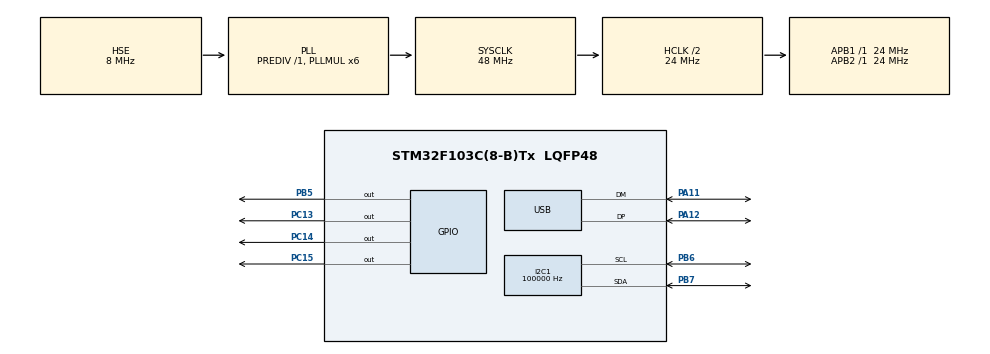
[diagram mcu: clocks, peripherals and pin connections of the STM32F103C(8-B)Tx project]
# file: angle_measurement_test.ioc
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I2C1.AddressingMode=I2C_ADDRESSINGMODE_7BIT
I2C1.ClockSpeed=100000
I2C1.DualAddressMode=I2C_DUALADDRESS_DISABLE
I2C1.GeneralCallMode=I2C_GENERALCALL_DISABLE
I2C1.I2C_Mode=I2C_Standard
I2C1.NoStretchMode=I2C_NOSTRETCH_DISABLE
I2C1.OwnAddress=0
Mcu.Family=STM32F1
Mcu.Name=STM32F103C(8-B)Tx
Mcu.Package=LQFP48
NVIC.PriorityGroup=NVIC_PRIORITYGROUP_4
NVIC.USB_LP_CAN1_RX0_IRQn=true\:0\:0\:false\:false\:true\:true\:true\:true
PA11.Mode=Device
PA11.Signal=USB_DM
PA12.Mode=Device
PA12.Signal=USB_DP
PA13.Mode=Serial_Wire
PA13.Signal=SYS_JTMS-SWDIO
PA14.Mode=Serial_Wire
PA14.Signal=SYS_JTCK-SWCLK
PB5.Signal=GPIO_Output
PB6.Mode=I2C
PB6.Signal=I2C1_SCL
PB7.Mode=I2C
PB7.Signal=I2C1_SDA
PC13-TAMPER-RTC.Signal=GPIO_Output
PC14-OSC32_IN.Signal=GPIO_Output
PC15-OSC32_OUT.Signal=GPIO_Output
PD0-OSC_IN.Mode=HSE-External-Oscillator
PD0-OSC_IN.Signal=RCC_OSC_IN
PD1-OSC_OUT.Mode=HSE-External-Oscillator
PD1-OSC_OUT.Signal=RCC_OSC_OUT
ProjectManager.HeapSize=0x200
ProjectManager.StackSize=0x400
ProjectManager.TargetToolchain=CMake
RCC.AHBCLKDivider=RCC_SYSCLK_DIV2
RCC.AHBFreq_Value=24000000
RCC.APB1Freq_Value=24000000
RCC.APB1TimFreq_Value=24000000
RCC.APB2Freq_Value=24000000
RCC.APB2TimFreq_Value=24000000
RCC.FLatency=FLASH_LATENCY_1
RCC.HCLKFreq_Value=24000000
RCC.PLLMUL=RCC_PLL_MUL6
RCC.SYSCLKFreq_VALUE=48000000
RCC.SYSCLKSource=RCC_SYSCLKSOURCE_PLLCLK
RCC.USBFreq_Value=48000000
USB.DeviceSpeed=PCD_SPEED_FULL
USB.battery_charging_enable=DISABLE
USB.low_power_enable=DISABLE
USB.lpm_enable=DISABLE
USB_DEVICE.APP_RX_DATA_SIZE=1024
USB_DEVICE.APP_TX_DATA_SIZE=1024
USB_DEVICE.CLASS_NAME_FS=CDC
USB_DEVICE.CONFIGURATION_STRING_CDC_FS=CDC Config
USB_DEVICE.INTERFACE_STRING_CDC_FS=CDC Interface
USB_DEVICE.LANGID_STRING=1033
USB_DEVICE.MANUFACTURER_STRING=STMicroelectronics
USB_DEVICE.PID_CDC_FS=22336
USB_DEVICE.PRODUCT_STRING_CDC_FS=STM32 Virtual ComPort
USB_DEVICE.USBD_DEBUG_LEVEL=0
USB_DEVICE.USBD_MAX_NUM_CONFIGURATION=1
USB_DEVICE.USBD_MAX_NUM_INTERFACES=1
USB_DEVICE.USBD_MAX_STR_DESC_SIZ=512
USB_DEVICE.USBD_SELF_POWERED=1
USB_DEVICE.VID=1155
USB_DEVICE.VirtualMode=Cdc
USB_DEVICE.VirtualModeFS=Cdc_FS
VP_USB_DEVICE_VS_USB_DEVICE_CDC_FS.Mode=CDC_FS
board=custom

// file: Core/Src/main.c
/* USER CODE BEGIN Header */
/**
  ******************************************************************************
  * @file           : main.c
  * @brief          : Main program body
  ******************************************************************************
  * @attention
  *
  * Copyright (c) 2026 STMicroelectronics.
  * All rights reserved.
  *
  * This software is licensed under terms that can be found in the LICENSE file
  * in the root directory of this software component.
  * If no LICENSE file comes with this software, it is provided AS-IS.
  *
  ******************************************************************************
  */
/* USER CODE END Header */
#include "main.h"
#include "usb_device.h"

/* USER CODE BEGIN Includes */
#include <stdio.h>
#include <stdint.h>
#include "as5600.h"
#include "usbd_cdc_if.h"
/* USER CODE END Includes */

/* USER CODE BEGIN PD */
#define N_STEP 200
#define N_MICROSTEP 4
#define N_LAP 8
/* USER CODE END PD */

/* USER CODE BEGIN PM */
#define USB_BUFLEN 128
/* USER CODE END PM */

I2C_HandleTypeDef hi2c1;

/* USER CODE BEGIN PV */
uint8_t usb_tx_buf[USB_BUFLEN];
uint16_t usb_tx_len;

AS5600_TypeDef *myAS5600;
/* USER CODE END PV */

void SystemClock_Config(void);
static void MX_GPIO_Init(void);
static void MX_I2C1_Init(void);

int main(void)
{

  /* MCU Configuration--------------------------------------------------------*/

  /* Reset of all peripherals, Initializes the Flash interface and the Systick. */
  HAL_Init();

  /* Configure the system clock */
  SystemClock_Config();

  /* Initialize all configured peripherals */
  MX_GPIO_Init();
  MX_I2C1_Init();
  MX_USB_DEVICE_Init();
  /* USER CODE BEGIN 2 */
  myAS5600 = AS5600_New();
  myAS5600->i2cAddr = (0x36 << 1); // 7-bit address shifted for HAL
  myAS5600->i2cHandle = &hi2c1;
  myAS5600->DirPort = GPIOB;       // unused
  myAS5600->DirPin = GPIO_PIN_5;   // unused
  myAS5600->PositiveRotationDirection = 0;

  // initialise AS5600
  HAL_StatusTypeDef a_ret;
  if ((a_ret = AS5600_Init(myAS5600)) != HAL_OK) {
    while(1) {
      usb_tx_len = snprintf((char*)usb_tx_buf, USB_BUFLEN, "INIT FAIL %d\r\n", a_ret);
      CDC_Transmit_FS(usb_tx_buf, usb_tx_len);
      HAL_Delay(1000);
    }
  }

  // home stepper motor
  uint16_t angle_12bit;
  AS5600_GetAngle(myAS5600, &angle_12bit);
  AS5600_SetStartPosition(myAS5600, angle_12bit);
  // do {
  //   HAL_GPIO_WritePin(GPIOC, GPIO_PIN_14, 1);    // advance stepper motor by 1 step
  //   HAL_Delay(10);
  //   HAL_GPIO_WritePin(GPIOC, GPIO_PIN_14, 0);
  //   HAL_Delay(10);

  //   if(AS5600_GetAngle(myAS5600, &angle_12bit) != HAL_OK) {
  //     while(1) {
  //       HAL_GPIO_WritePin(GPIOC, GPIO_PIN_13, 1);
  //       usb_tx_len = snprintf((char*)usb_tx_buf, USB_BUFLEN, "GET ANGLE ERROR\r\n");
  //       CDC_Transmit_FS(usb_tx_buf, usb_tx_len);
  //       HAL_Delay(1000);
  //     }
  //   } else {
  //     usb_tx_len = snprintf((char*)usb_tx_buf, USB_BUFLEN, "C%u\r\n", angle_12bit);
  //     CDC_Transmit_FS(usb_tx_buf, usb_tx_len);
  //   }
  // } while(angle_12bit != 0);

  // measure 1 full rotation
  HAL_Delay(5000);
  for(int step = 0; step < N_STEP * N_MICROSTEP * N_LAP; step++) {
    HAL_GPIO_WritePin(GPIOC, GPIO_PIN_14, 1);    // advance stepper motor by 1 step
    HAL_Delay(1);
    HAL_GPIO_WritePin(GPIOC, GPIO_PIN_14, 0);
    HAL_Delay(25);

    if(AS5600_GetAngle(myAS5600, &angle_12bit) != HAL_OK) {
      while(1) {
        usb_tx_len = snprintf((char*)usb_tx_buf, USB_BUFLEN, "GET ANGLE ERROR\r\n");
        CDC_Transmit_FS(usb_tx_buf, usb_tx_len);
        HAL_Delay(1000);
      }
    } else {
      usb_tx_len = snprintf((char*)usb_tx_buf, USB_BUFLEN, "%d, %u\r\n", step + 1, angle_12bit);
      CDC_Transmit_FS(usb_tx_buf, usb_tx_len);
    }
  }
  /* USER CODE END 2 */

  /* Infinite loop */
  while (1)
  {

  }
}

void SystemClock_Config(void)
{
  RCC_OscInitTypeDef RCC_OscInitStruct = {0};
  RCC_ClkInitTypeDef RCC_ClkInitStruct = {0};
  RCC_PeriphCLKInitTypeDef PeriphClkInit = {0};

  /** Initializes the RCC Oscillators according to the specified parameters
  * in the RCC_OscInitTypeDef structure.
  */
  RCC_OscInitStruct.OscillatorType = RCC_OSCILLATORTYPE_HSE;
  RCC_OscInitStruct.HSEState = RCC_HSE_ON;
  RCC_OscInitStruct.HSEPredivValue = RCC_HSE_PREDIV_DIV1;
  RCC_OscInitStruct.HSIState = RCC_HSI_ON;
  RCC_OscInitStruct.PLL.PLLState = RCC_PLL_ON;
  RCC_OscInitStruct.PLL.PLLSource = RCC_PLLSOURCE_HSE;
  RCC_OscInitStruct.PLL.PLLMUL = RCC_PLL_MUL6;
  if (HAL_RCC_OscConfig(&RCC_OscInitStruct) != HAL_OK)
  {
    Error_Handler();
  }

  /** Initializes the CPU, AHB and APB buses clocks
  */
  RCC_ClkInitStruct.ClockType = RCC_CLOCKTYPE_HCLK|RCC_CLOCKTYPE_SYSCLK
                              |RCC_CLOCKTYPE_PCLK1|RCC_CLOCKTYPE_PCLK2;
  RCC_ClkInitStruct.SYSCLKSource = RCC_SYSCLKSOURCE_PLLCLK;
  RCC_ClkInitStruct.AHBCLKDivider = RCC_SYSCLK_DIV2;
  RCC_ClkInitStruct.APB1CLKDivider = RCC_HCLK_DIV1;
  RCC_ClkInitStruct.APB2CLKDivider = RCC_HCLK_DIV1;

  if (HAL_RCC_ClockConfig(&RCC_ClkInitStruct, FLASH_LATENCY_1) != HAL_OK)
  {
    Error_Handler();
  }
  PeriphClkInit.PeriphClockSelection = RCC_PERIPHCLK_USB;
  PeriphClkInit.UsbClockSelection = RCC_USBCLKSOURCE_PLL;
  if (HAL_RCCEx_PeriphCLKConfig(&PeriphClkInit) != HAL_OK)
  {
    Error_Handler();
  }
}

static void MX_I2C1_Init(void)
{

  hi2c1.Instance = I2C1;
  hi2c1.Init.ClockSpeed = 100000;
  hi2c1.Init.DutyCycle = I2C_DUTYCYCLE_2;
  hi2c1.Init.OwnAddress1 = 0;
  hi2c1.Init.AddressingMode = I2C_ADDRESSINGMODE_7BIT;
  hi2c1.Init.DualAddressMode = I2C_DUALADDRESS_DISABLE;
  hi2c1.Init.OwnAddress2 = 0;
  hi2c1.Init.GeneralCallMode = I2C_GENERALCALL_DISABLE;
  hi2c1.Init.NoStretchMode = I2C_NOSTRETCH_DISABLE;
  if (HAL_I2C_Init(&hi2c1) != HAL_OK)
  {
    Error_Handler();
  }

}

static void MX_GPIO_Init(void)
{
  GPIO_InitTypeDef GPIO_InitStruct = {0};

  /* GPIO Ports Clock Enable */
  __HAL_RCC_GPIOC_CLK_ENABLE();
  __HAL_RCC_GPIOD_CLK_ENABLE();
  __HAL_RCC_GPIOA_CLK_ENABLE();
  __HAL_RCC_GPIOB_CLK_ENABLE();

  /*Configure GPIO pin Output Level */
  HAL_GPIO_WritePin(GPIOC, GPIO_PIN_13|GPIO_PIN_14|GPIO_PIN_15, GPIO_PIN_RESET);

  /*Configure GPIO pin Output Level */
  HAL_GPIO_WritePin(GPIOB, GPIO_PIN_5, GPIO_PIN_RESET);

  /*Configure GPIO pins : PC13 PC14 PC15 */
  GPIO_InitStruct.Pin = GPIO_PIN_13|GPIO_PIN_14|GPIO_PIN_15;
  GPIO_InitStruct.Mode = GPIO_MODE_OUTPUT_PP;
  GPIO_InitStruct.Pull = GPIO_NOPULL;
  GPIO_InitStruct.Speed = GPIO_SPEED_FREQ_LOW;
  HAL_GPIO_Init(GPIOC, &GPIO_InitStruct);

  /*Configure GPIO pin : PB5 */
  GPIO_InitStruct.Pin = GPIO_PIN_5;
  GPIO_InitStruct.Mode = GPIO_MODE_OUTPUT_PP;
  GPIO_InitStruct.Pull = GPIO_NOPULL;
  GPIO_InitStruct.Speed = GPIO_SPEED_FREQ_LOW;
  HAL_GPIO_Init(GPIOB, &GPIO_InitStruct);

}

void Error_Handler(void)
{
  __disable_irq();
  while (1)
  {
  }
}
